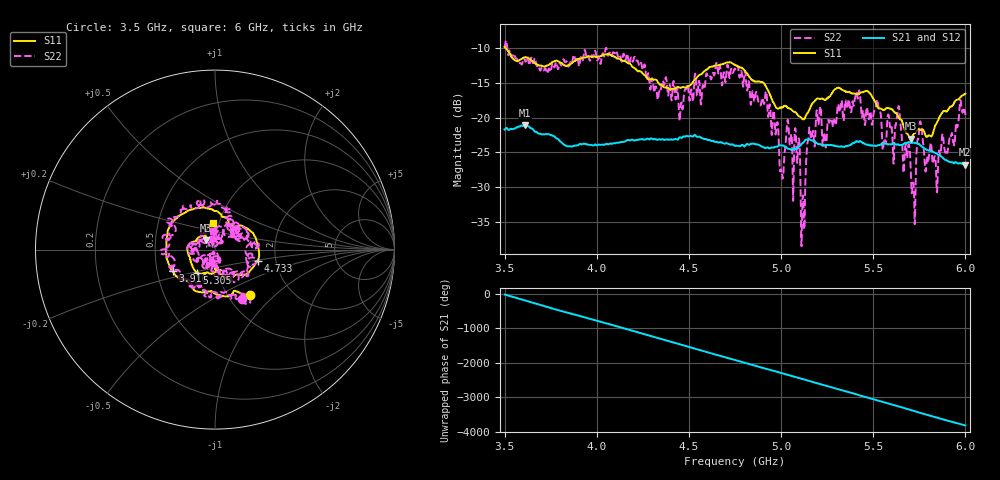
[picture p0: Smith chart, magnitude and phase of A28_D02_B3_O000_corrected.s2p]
! Created with skrf 1.9.0 (http://scikit-rf.org).
# Hz S RI R 50.0
!freq ReS11 ImS11 ReS21 ImS21 ReS12 ImS12 ReS22 ImS22
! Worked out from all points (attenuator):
!   1601 points, 3.5 GHz to 6 GHz, reference 50 ohm
!   highest |S21| = -21.14 dB at 3.611 GHz (marker M1); lowest = -26.7 dB at 5.997 GHz (marker M2)
!   lowest |S11| = -23.0 dB at 5.703 GHz (marker M3), VSWR 1.15, Z = 45.1 + j4.65 ohm
!   |S11| at or under -10 dB: 3.504 GHz to end of sweep
!   |S22| runs from -38.4 to -9.0 dB; largest |S21 - S12| = 0.001
!   S11 on the Smith chart (normalised r, x): 3.5 GHz: 1.26, -0.72; 3.916 GHz: 0.60, -0.16; 4.733 GHz: 1.61, -0.21; 5.305 GHz: 0.79, -0.21; 6 GHz: 0.94, +0.28
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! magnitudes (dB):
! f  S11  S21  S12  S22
! 3.5 GHz  -9.9  -21.7  -21.7  -10.0
! 3.611 GHz  -11.4  -21.1  -21.2  -11.9
! 3.916 GHz  -11.5  -23.8  -23.8  -11.3
! 3.917 GHz  -11.5  -23.8  -23.8  -11.3
! 4.334 GHz  -15.1  -23.2  -23.1  -17.0
! 4.733 GHz  -12.2  -23.8  -23.8  -13.2
! 4.75 GHz  -12.5  -24.1  -24.0  -13.0
! 4.927 GHz  -16.0  -24.3  -24.3  -18.9
! 5.003 GHz  -18.6  -24.0  -24.0  -27.9
! 5.033 GHz  -18.5  -24.4  -24.3  -20.8
! 5.088 GHz  -19.5  -24.4  -24.4  -26.5
! 5.119 GHz  -20.2  -23.6  -23.6  -31.1
! 5.167 GHz  -18.1  -23.3  -23.2  -22.8
! 5.305 GHz  -15.7  -24.1  -24.1  -18.9
! 5.584 GHz  -18.7  -23.8  -23.8  -19.7
! 5.639 GHz  -20.0  -23.9  -23.9  -18.4
! 5.703 GHz  -23.0  -23.7  -23.6  -27.4
! 5.719 GHz  -22.4  -23.6  -23.6  -29.7
! 5.753 GHz  -21.8  -23.9  -23.9  -20.8
! 5.839 GHz  -21.0  -25.1  -25.1  -26.5
! 5.997 GHz  -16.6  -26.7  -26.7  -19.0
! 6 GHz  -16.6  -26.7  -26.7  -19.6
